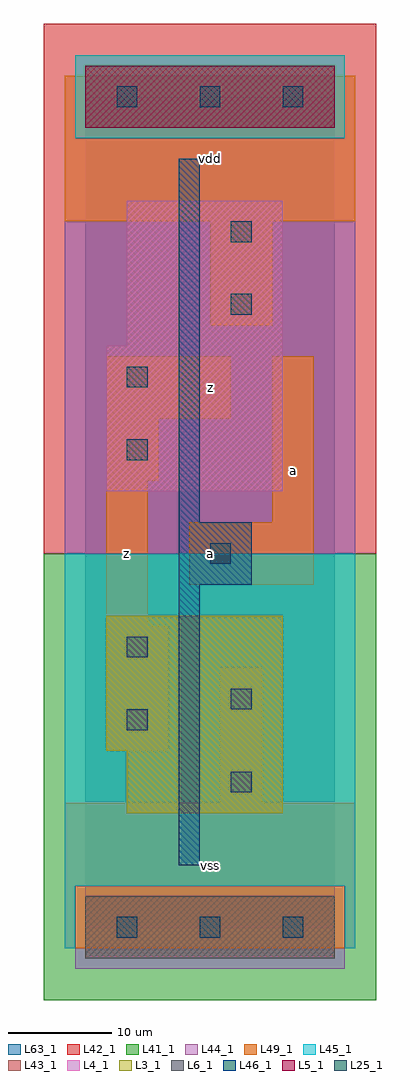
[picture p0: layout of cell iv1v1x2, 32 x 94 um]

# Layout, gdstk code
import gdstk
lib = gdstk.Library(unit=1e-6, precision=1e-09)
def R(c, l, rs):  # rectangles x0, y0, x1, y1
    for r in rs: c.add(gdstk.rectangle(r[:2], r[2:], *l))
def A(c, l, x, y, w, h, nx, ny, dx, dy):  # array of equal rectangles
    R(c, l, [(x+i*dx, y+j*dy, x+i*dx+w, y+j*dy+h) for i in range(nx) for j in range(ny)])
L3_1 = (3, 1)
L4_1 = (4, 1)
L5_1 = (5, 1)
L6_1 = (6, 1)
L25_1 = (25, 1)
L41_1 = (41, 1)
L42_1 = (42, 1)
L43_1 = (43, 1)
L44_1 = (44, 1)
L45_1 = (45, 1)
L46_1 = (46, 1)
L49_1 = (49, 1)
L63_1 = (63, 1)

iv1v1x2 = lib.new_cell('iv1v1x2')
R(iv1v1x2, L3_1, [(4,11,19,17), (2,17,19,30)])
R(iv1v1x2, L4_1, [(2,42,19,56), (4,56,19,70)])
R(iv1v1x2, L5_1, [(0,77,24,83)])
R(iv1v1x2, L6_1, [(0,-3,24,3), (0,-3,24,3)])
A(iv1v1x2, L25_1, 3, -1, 2, 2, 3, 2, 8, 80)
R(iv1v1x2, L25_1, [(14,13,16,15), (4,19,6,21), (14,21,16,23), (4,26,6,28), (12,35,14,37), (4,45,6,47), (4,52,6,54), (14,59,16,61), (14,66,16,68)])
R(iv1v1x2, L41_1, [(-4,-7,28,36)])
R(iv1v1x2, L42_1, [(-4,36,28,87)])
R(iv1v1x2, L43_1, [(0,-3,24,3), (4,11,19,17), (2,17,19,30), (2,42,19,56), (4,56,19,70), (0,77,24,83)])
R(iv1v1x2, L44_1, [(-1,-4,25,4), (-2,36,26,76), (-2,76,-1,82), (25,76,26,82)])
R(iv1v1x2, L45_1, [(-2,-2,-1,4), (25,-2,26,4), (-2,4,26,36), (-1,76,25,84)])
R(iv1v1x2, L46_1, [(9,6,11,33), (9,33,16,39), (9,39,11,74)])
R(iv1v1x2, L49_1, [(-2,-2,26,12), (13,12,17,25), (2,17,8,29), (2,29,6,43), (10,33,22,39), (18,39,22,55), (2,43,7,49), (2,49,14,55), (12,58,18,68), (-2,68,26,82)])
R(iv1v1x2, L63_1, [(0,0,24,80)])
iv1v1x2.add(gdstk.Label('z', (4,36), layer=49, texttype=1))
iv1v1x2.add(gdstk.Label('vss', (12,6), layer=49, texttype=1))
iv1v1x2.add(gdstk.Label('a', (12,36), layer=49, texttype=1))
iv1v1x2.add(gdstk.Label('z', (12,52), layer=49, texttype=1))
iv1v1x2.add(gdstk.Label('vdd', (12,74), layer=49, texttype=1))
iv1v1x2.add(gdstk.Label('a', (20,44), layer=49, texttype=1))

lib.write_gds('iv1v1x2.gds')
